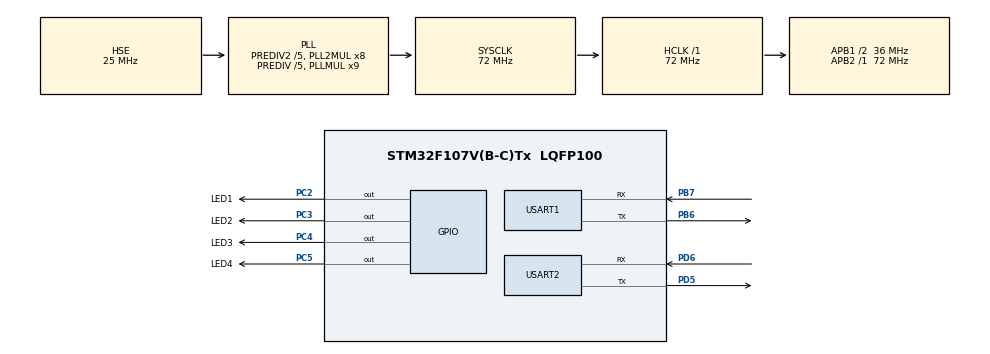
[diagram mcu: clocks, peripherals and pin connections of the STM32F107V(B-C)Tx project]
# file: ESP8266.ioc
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Mcu.Family=STM32F1
Mcu.Name=STM32F107V(B-C)Tx
Mcu.Package=LQFP100
NVIC.PriorityGroup=NVIC_PRIORITYGROUP_4
NVIC.USART1_IRQn=true\:0\:0\:false\:false\:true\:true\:true
OSC_IN.Mode=HSE-External-Oscillator
OSC_IN.Signal=RCC_OSC_IN
OSC_OUT.Mode=HSE-External-Oscillator
OSC_OUT.Signal=RCC_OSC_OUT
PA13.Mode=Serial_Wire
PA13.Signal=SYS_JTMS-SWDIO
PA14.Mode=Serial_Wire
PA14.Signal=SYS_JTCK-SWCLK
PB6.Mode=Asynchronous
PB6.Signal=USART1_TX
PB7.Mode=Asynchronous
PB7.Signal=USART1_RX
PC2.GPIO_Label=LED1
PC2.Signal=GPIO_Output
PC3.GPIO_Label=LED2
PC3.Signal=GPIO_Output
PC4.GPIO_Label=LED3
PC4.Signal=GPIO_Output
PC5.GPIO_Label=LED4
PC5.Signal=GPIO_Output
PD5.Mode=Asynchronous
PD5.Signal=USART2_TX
PD6.Mode=Asynchronous
PD6.Signal=USART2_RX
ProjectManager.HeapSize=0x2000
ProjectManager.StackSize=0x4000
ProjectManager.TargetToolchain=MDK-ARM V5
RCC.AHBFreq_Value=72000000
RCC.APB1CLKDivider=RCC_HCLK_DIV2
RCC.APB1Freq_Value=36000000
RCC.APB1TimFreq_Value=72000000
RCC.APB2Freq_Value=72000000
RCC.APB2TimFreq_Value=72000000
RCC.HCLKFreq_Value=72000000
RCC.HSEDivPLL=RCC_HSE_PREDIV_DIV5
RCC.HSE_VALUE=25000000
RCC.PLLMUL=RCC_PLL_MUL9
RCC.PLLSourceVirtual=RCC_PLLSOURCE_HSE
RCC.Prediv1Source=RCC_PREDIV1_SOURCE_PLL2
RCC.Prediv2=RCC_HSE_PREDIV2_DIV5
RCC.SYSCLKFreq_VALUE=72000000
RCC.SYSCLKSource=RCC_SYSCLKSOURCE_PLLCLK
RCC.USBFreq_Value=48000000
USART1.VirtualMode=VM_ASYNC
USART2.VirtualMode=VM_ASYNC
board=ESP8266

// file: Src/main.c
/**
  ******************************************************************************
  * File Name          : main.c
  * Description        : Main program body
  ******************************************************************************
  ** This notice applies to any and all portions of this file
  * that are not between comment pairs USER CODE BEGIN and
  * USER CODE END. Other portions of this file, whether
  * inserted by the user or by software development tools
  * are owned by their respective copyright owners.
  *
  * COPYRIGHT(c) 2018 STMicroelectronics
  *
  * Redistribution and use in source and binary forms, with or without modification,
  * are permitted provided that the following conditions are met:
  *   1. Redistributions of source code must retain the above copyright notice,
  *      this list of conditions and the following disclaimer.
  *   2. Redistributions in binary form must reproduce the above copyright notice,
  *      this list of conditions and the following disclaimer in the documentation
  *      and/or other materials provided with the distribution.
  *   3. Neither the name of STMicroelectronics nor the names of its contributors
  *      may be used to endorse or promote products derived from this software
  *      without specific prior written permission.
  *
  * THIS SOFTWARE IS PROVIDED BY THE COPYRIGHT HOLDERS AND CONTRIBUTORS "AS IS"
  * AND ANY EXPRESS OR IMPLIED WARRANTIES, INCLUDING, BUT NOT LIMITED TO, THE
  * IMPLIED WARRANTIES OF MERCHANTABILITY AND FITNESS FOR A PARTICULAR PURPOSE ARE
  * DISCLAIMED. IN NO EVENT SHALL THE COPYRIGHT HOLDER OR CONTRIBUTORS BE LIABLE
  * FOR ANY DIRECT, INDIRECT, INCIDENTAL, SPECIAL, EXEMPLARY, OR CONSEQUENTIAL
  * DAMAGES (INCLUDING, BUT NOT LIMITED TO, PROCUREMENT OF SUBSTITUTE GOODS OR
  * SERVICES; LOSS OF USE, DATA, OR PROFITS; OR BUSINESS INTERRUPTION) HOWEVER
  * CAUSED AND ON ANY THEORY OF LIABILITY, WHETHER IN CONTRACT, STRICT LIABILITY,
  * OR TORT (INCLUDING NEGLIGENCE OR OTHERWISE) ARISING IN ANY WAY OUT OF THE USE
  * OF THIS SOFTWARE, EVEN IF ADVISED OF THE POSSIBILITY OF SUCH DAMAGE.
  *
  ******************************************************************************
  */
#include "main.h"
#include "stm32f1xx_hal.h"

/* USER CODE BEGIN Includes */
#include "string.h"
#include "stdlib.h"
/* USER CODE END Includes */

UART_HandleTypeDef huart1;
UART_HandleTypeDef huart2;

/* USER CODE BEGIN PV */
/* Private variables ---------------------------------------------------------*/
typedef enum
{
  ESP_OK       		= 0x00U,
  ESP_ERROR    		= 0x01U,
  ESP_BUSY     		= 0x02U,
	ESP_IPD			 		= 0x03U,
	ESP_FAIL     		= 0x04U,
	ESP_DISCONNECT  = 0x05U,
  ESP_TIMEOUT 	  = 0x06U,
	ESP_REDY				= 0x07U
} ESP_Status;

typedef enum
{
COMMAND_OK				=	0x00U,
COMMAND_ERROR			= 0x01U,
COMMAND_TIMEOUT		= 0x02U
}ESP_CommandStatus;

uint8_t Rec_Data;
int RxCounter = 0;
char RxBuffer[1000];
volatile ESP_Status reciveFlag = 0;
uint16_t len;
char Command[50];
#define ESP_TimeOut 1000
char buffr[30];
char lenbuff[4];
char buff[200];
char *a1 ;
char *a2;
int  a3;
char flagof;

void delay(void)
{
	int tt;
	for(tt=0;tt<100000;tt++);
}

char WIFI_Connected = 0;
char WIFI_Get_IP = 0;
/* USER CODE END PV */

void SystemClock_Config(void);
static void MX_GPIO_Init(void);
static void MX_USART1_UART_Init(void);
static void MX_USART2_UART_Init(void);
#define ResetFrame memset(RxBuffer,0x00,sizeof(RxBuffer));

/* USER CODE BEGIN PFP */
/* Private function prototypes -----------------------------------------------*/

/* USER CODE END PFP */

/* USER CODE BEGIN 0 */
void  ESP_Callback(char *pBuff,uint16_t len)
{
  if(strstr(pBuff,"LED1_ON"))
	{
		HAL_GPIO_WritePin(LED2_GPIO_Port,LED2_Pin,GPIO_PIN_SET);
		flagof = 1;
	}
  else if(strstr(pBuff,"LED1_OFF"))
	{
		HAL_GPIO_WritePin(LED2_GPIO_Port,LED2_Pin,GPIO_PIN_RESET);
		flagof = 2;
	}

}

void HAL_UART_RxCpltCallback(UART_HandleTypeDef *huart)
{

    HAL_UART_Receive_IT(&huart1,&Rec_Data,1);
    RxBuffer[RxCounter++] = Rec_Data;
	  if( RxBuffer[RxCounter - 1] == 0x0a && RxBuffer[RxCounter - 2] == 0x0d && RxBuffer[RxCounter - 3] == 'K' && RxBuffer[RxCounter - 4] == 'O')
		{
				reciveFlag = ESP_OK ;
			  delay();
				RxCounter = 0x00;
		}
		if( RxBuffer[RxCounter - 4] == 'E' &&  RxBuffer[RxCounter - 4] == 'R' && RxBuffer[RxCounter - 3] == 'R' && RxBuffer[RxCounter - 2] == 'O' && RxBuffer[RxCounter - 1] == 'R')
		{
				reciveFlag = ESP_ERROR ;
				RxCounter = 0x00;
		}
		if( RxBuffer[RxCounter - 4] == 'F' && RxBuffer[RxCounter - 3] == 'A' && RxBuffer[RxCounter - 2] == 'I' && RxBuffer[RxCounter - 1] == 'L')
	  {
				reciveFlag = ESP_FAIL ;
				RxCounter = 0x00;
		}
		if( RxBuffer[RxCounter - 4] == 'D' &&   RxBuffer[RxCounter - 4] == 'I' &&   RxBuffer[RxCounter - 4] == 'S' &&   RxBuffer[RxCounter - 4] == 'C' &&   RxBuffer[RxCounter - 4] == 'O' &&   RxBuffer[RxCounter - 4] == 'N' &&  RxBuffer[RxCounter - 4] == 'N' && RxBuffer[RxCounter - 3] == 'E' && RxBuffer[RxCounter - 2] == 'C' && RxBuffer[RxCounter - 1] == 'T')
		{
				reciveFlag = ESP_DISCONNECT ;
				RxCounter = 0x00;
		}
		if(strstr(RxBuffer,"\r\n+IPD,") && RxBuffer[RxCounter - 3] == 'E' && RxBuffer[RxCounter - 2] == 'N'  && RxBuffer[RxCounter - 1] == 'D')
		//if(strstr(RxBuffer,"\r\n+IPD,"))
		{

     delay();

			a1 = strstr(RxBuffer,",");
			a2 = strstr(RxBuffer,":");
			a3 = a2 - a1 - 1;
			delay();

      strncpy  (lenbuff,a1 + 1,a3);
			len = atoi(lenbuff) - 3;
     // strncpy (buffr,a2 + 1,len) ;

			ESP_Callback(a2 + 1,len);
			ResetFrame
			RxCounter = 0x00;

		}
}

ESP_Status Send_Command(char *command,uint32_t Timeout)
{
	  uint32_t tickstart = 0U;
	  reciveFlag = ESP_REDY;

    HAL_UART_Transmit(&huart1,(uint8_t*)command,strlen(command),Timeout);
	  tickstart = HAL_GetTick();

	  while(reciveFlag == ESP_REDY && ( HAL_GetTick() - tickstart ) < Timeout);

		if( ( HAL_GetTick() - tickstart ) >= Timeout )
		{
			return ESP_TIMEOUT;
		}
    else if( reciveFlag == ESP_OK)
    {
		  ResetFrame
			return ESP_OK;
		}
		else if (reciveFlag == ESP_ERROR)
    {}
		else if (reciveFlag == ESP_FAIL)
    {}
		else if (reciveFlag == ESP_IPD)
    {
		  //ESP_Callback();
		  return ESP_OK;
		}
		else if (reciveFlag == ESP_DISCONNECT)
    {}
}

ESP_CommandStatus ESP_INIT(void)
{
	sprintf(Command,"AT+RST\r\n\r\n");

	if(Send_Command(Command,ESP_TimeOut) != ESP_OK )
		return COMMAND_ERROR;

	sprintf(Command,"AT\r\n");

	if(Send_Command(Command,ESP_TimeOut) != ESP_OK )
		return COMMAND_ERROR;

	  return COMMAND_OK;
}

ESP_CommandStatus  ESP_WIFI_MODE(uint8_t mode)
{
	 sprintf(Command,"AT+CWMODE=%d\r\n",mode);

	 if(Send_Command(Command,ESP_TimeOut) != ESP_OK )
		return COMMAND_ERROR;

	 return COMMAND_OK;
}

ESP_CommandStatus		ESP_CIP_MODE(uint8_t mode)
{
	 sprintf(Command,"AT+CIPMODE=%d\r\n",mode);

	 if(Send_Command(Command,ESP_TimeOut) != ESP_OK )
		return COMMAND_ERROR;

	 return COMMAND_OK;
}

ESP_CommandStatus  ESP_CIP_MUX(uint8_t mode)
{
	 sprintf(Command,"AT+CIPMUX=%d\r\n",mode);

	 if(Send_Command(Command,ESP_TimeOut) != ESP_OK )
		return COMMAND_ERROR;

	 return COMMAND_OK;
}

ESP_CommandStatus  ESP_CW_SAP(char * ssid,char * pwd,uint8_t id,uint8_t enc)
{
	sprintf(Command,"AT+CWSAP=\"%s\",\"%s\",%d,%d\r\n",ssid,pwd,id,enc);

	if(Send_Command(Command,ESP_TimeOut) != ESP_OK )
		return COMMAND_ERROR;

	 return COMMAND_OK;

}

ESP_CommandStatus  ESP_SET_IP(char *ip)
{
	sprintf(Command,"AT+CIPAP=\"%s\"\r\n",ip); //Set IP

	if(Send_Command(Command,ESP_TimeOut) != ESP_OK )
		return COMMAND_ERROR;

	 return COMMAND_OK;
}

ESP_CommandStatus  ESP_SET_SERVER(uint8_t mode,uint32_t port)
{

	sprintf(Command,"AT+CIPSERVER=%d,%d\r\n",mode,port);

	if(Send_Command(Command,ESP_TimeOut) != ESP_OK )
		return COMMAND_ERROR;

	 return COMMAND_OK;
}

ESP_CommandStatus  ESP_CONNECT_ROUTER(char *ssid,char *pwd)
{
  sprintf(Command,"AT+CWJAP=\"%s\",\"%s\"\r\n\r\n",ssid,pwd);

	if(Send_Command(Command,ESP_TimeOut * 20) != ESP_OK )
		return COMMAND_ERROR;

	return COMMAND_OK;
}

ESP_CommandStatus  ESP_CONNECT_UDPSERVER(char *ip,int port)
{
  sprintf(Command,"AT+CIPSTART=\"UDP\",\"%s\",%d,4540\r\n\r\n",ip,port);

	if(Send_Command(Command,ESP_TimeOut) != ESP_OK )
		return COMMAND_ERROR;

	return COMMAND_OK;
}

ESP_CommandStatus  ESP_CONNECT_TCPSERVER(char *ip,int port)
{
  sprintf(Command,"AT+CIPSTART=\"TCP\",\"%s\",%d,4540\r\n\r\n",ip,port);

	if(Send_Command(Command,ESP_TimeOut * 5) != ESP_OK )
		return COMMAND_ERROR;

	return COMMAND_OK;
}

ESP_CommandStatus  ESP_SEND_DATA(char *data,unsigned short len)
{
  sprintf(Command,"AT+CIPSEND=%d\r\n\r\n",len);

	if(Send_Command(Command,ESP_TimeOut) != ESP_OK )
			return COMMAND_ERROR;

	sprintf(Command,"%s\r\n\r\n",data);

	if(Send_Command(Command,ESP_TimeOut) != ESP_OK )
			return COMMAND_ERROR;

  return COMMAND_OK;

}

/* USER CODE END 0 */

int main(void)
{

  /* MCU Configuration----------------------------------------------------------*/

  /* Reset of all peripherals, Initializes the Flash interface and the Systick. */
  HAL_Init();

  /* Configure the system clock */
  SystemClock_Config();

  /* Initialize all configured peripherals */
  MX_GPIO_Init();
  MX_USART1_UART_Init();
  MX_USART2_UART_Init();

  /* USER CODE BEGIN 2 */
    HAL_Delay(500);
    HAL_UART_Receive_IT(&huart1,&Rec_Data,1);
   do
	 {
		HAL_Delay(2000);
	 }while(ESP_INIT() != COMMAND_OK);

//	 if(ESP_WIFI_MODE(2) != COMMAND_OK)
//	 {
//	   while(1);
//	 }
//	 if(ESP_CIP_MUX(0) != COMMAND_OK)
//	 {
//	   while(1);
//	 }
//	 if(ESP_CIP_MUX(1) != COMMAND_OK)
//	 {
//	   while(1);
//	 }
//	 if(ESP_CW_SAP("Naminic.com","12345678",6,4) != COMMAND_OK)
//	 {
//	   while(1);
//	 }
//	 if(ESP_SET_IP("192.168.1.7") != COMMAND_OK)
//	 {
//	   while(1);
//	 }
//	 if(ESP_SET_SERVER(1,1000) != COMMAND_OK)
//	 {
//	   while(1);
//	 }

	 if(ESP_WIFI_MODE(1) != COMMAND_OK)
	 {
	   while(1);
	 }
	 if(ESP_CONNECT_ROUTER("naminic","naminics") != COMMAND_OK)
	 {
	   while(1);
	 }

	 if(ESP_CONNECT_TCPSERVER("172.20.10.2",1000) != COMMAND_OK)
	 {
	   while(1);
	 }

   HAL_GPIO_WritePin(LED1_GPIO_Port,LED1_Pin,GPIO_PIN_SET);
  /* USER CODE END 2 */

  /* Infinite loop */
  /* USER CODE BEGIN WHILE */
  while (1)
  {

		if(flagof == 1 )
		{
			ESP_SEND_DATA("ON",2);
				flagof = 0;
		//HAL_Delay(2000);
		}
		if(flagof == 2 )
		{
			ESP_SEND_DATA("OFF",3);
				flagof = 0;
		}
  /* USER CODE END WHILE */

  }

}

/** System Clock Configuration
*/
void SystemClock_Config(void)
{

  RCC_OscInitTypeDef RCC_OscInitStruct;
  RCC_ClkInitTypeDef RCC_ClkInitStruct;

    /**Initializes the CPU, AHB and APB busses clocks
    */
  RCC_OscInitStruct.OscillatorType = RCC_OSCILLATORTYPE_HSE;
  RCC_OscInitStruct.HSEState = RCC_HSE_ON;
  RCC_OscInitStruct.HSEPredivValue = RCC_HSE_PREDIV_DIV5;
  RCC_OscInitStruct.HSIState = RCC_HSI_ON;
  RCC_OscInitStruct.Prediv1Source = RCC_PREDIV1_SOURCE_PLL2;
  RCC_OscInitStruct.PLL.PLLState = RCC_PLL_ON;
  RCC_OscInitStruct.PLL.PLLSource = RCC_PLLSOURCE_HSE;
  RCC_OscInitStruct.PLL.PLLMUL = RCC_PLL_MUL9;
  RCC_OscInitStruct.PLL2.PLL2State = RCC_PLL2_ON;
  RCC_OscInitStruct.PLL2.PLL2MUL = RCC_PLL2_MUL8;
  RCC_OscInitStruct.PLL2.HSEPrediv2Value = RCC_HSE_PREDIV2_DIV5;
  if (HAL_RCC_OscConfig(&RCC_OscInitStruct) != HAL_OK)
  {
    _Error_Handler(__FILE__, __LINE__);
  }

    /**Initializes the CPU, AHB and APB busses clocks
    */
  RCC_ClkInitStruct.ClockType = RCC_CLOCKTYPE_HCLK|RCC_CLOCKTYPE_SYSCLK
                              |RCC_CLOCKTYPE_PCLK1|RCC_CLOCKTYPE_PCLK2;
  RCC_ClkInitStruct.SYSCLKSource = RCC_SYSCLKSOURCE_PLLCLK;
  RCC_ClkInitStruct.AHBCLKDivider = RCC_SYSCLK_DIV1;
  RCC_ClkInitStruct.APB1CLKDivider = RCC_HCLK_DIV2;
  RCC_ClkInitStruct.APB2CLKDivider = RCC_HCLK_DIV1;

  if (HAL_RCC_ClockConfig(&RCC_ClkInitStruct, FLASH_LATENCY_2) != HAL_OK)
  {
    _Error_Handler(__FILE__, __LINE__);
  }

    /**Configure the Systick interrupt time
    */
  HAL_SYSTICK_Config(HAL_RCC_GetHCLKFreq()/1000);

    /**Configure the Systick
    */
  HAL_SYSTICK_CLKSourceConfig(SYSTICK_CLKSOURCE_HCLK);

    /**Configure the Systick interrupt time
    */
  __HAL_RCC_PLLI2S_ENABLE();

  /* SysTick_IRQn interrupt configuration */
  HAL_NVIC_SetPriority(SysTick_IRQn, 0, 0);
}

/* USART1 init function */
static void MX_USART1_UART_Init(void)
{

  huart1.Instance = USART1;
  huart1.Init.BaudRate = 115200;
  huart1.Init.WordLength = UART_WORDLENGTH_8B;
  huart1.Init.StopBits = UART_STOPBITS_1;
  huart1.Init.Parity = UART_PARITY_NONE;
  huart1.Init.Mode = UART_MODE_TX_RX;
  huart1.Init.HwFlowCtl = UART_HWCONTROL_NONE;
  huart1.Init.OverSampling = UART_OVERSAMPLING_16;
  if (HAL_UART_Init(&huart1) != HAL_OK)
  {
    _Error_Handler(__FILE__, __LINE__);
  }

}

/* USART2 init function */
static void MX_USART2_UART_Init(void)
{

  huart2.Instance = USART2;
  huart2.Init.BaudRate = 115200;
  huart2.Init.WordLength = UART_WORDLENGTH_8B;
  huart2.Init.StopBits = UART_STOPBITS_1;
  huart2.Init.Parity = UART_PARITY_NONE;
  huart2.Init.Mode = UART_MODE_TX_RX;
  huart2.Init.HwFlowCtl = UART_HWCONTROL_NONE;
  huart2.Init.OverSampling = UART_OVERSAMPLING_16;
  if (HAL_UART_Init(&huart2) != HAL_OK)
  {
    _Error_Handler(__FILE__, __LINE__);
  }

}

/** Configure pins as
        * Analog
        * Input
        * Output
        * EVENT_OUT
        * EXTI
*/
static void MX_GPIO_Init(void)
{

  GPIO_InitTypeDef GPIO_InitStruct;

  /* GPIO Ports Clock Enable */
  __HAL_RCC_GPIOC_CLK_ENABLE();
  __HAL_RCC_GPIOA_CLK_ENABLE();
  __HAL_RCC_GPIOD_CLK_ENABLE();
  __HAL_RCC_GPIOB_CLK_ENABLE();

  /*Configure GPIO pin Output Level */
  HAL_GPIO_WritePin(GPIOC, LED1_Pin|LED2_Pin|LED3_Pin|LED4_Pin, GPIO_PIN_RESET);

  /*Configure GPIO pins : LED1_Pin LED2_Pin LED3_Pin LED4_Pin */
  GPIO_InitStruct.Pin = LED1_Pin|LED2_Pin|LED3_Pin|LED4_Pin;
  GPIO_InitStruct.Mode = GPIO_MODE_OUTPUT_PP;
  GPIO_InitStruct.Speed = GPIO_SPEED_FREQ_LOW;
  HAL_GPIO_Init(GPIOC, &GPIO_InitStruct);

}

void _Error_Handler(char * file, int line)
{
  while(1)
  {
  }
}

/************************ (C) COPYRIGHT STMicroelectronics *****END OF FILE****/
